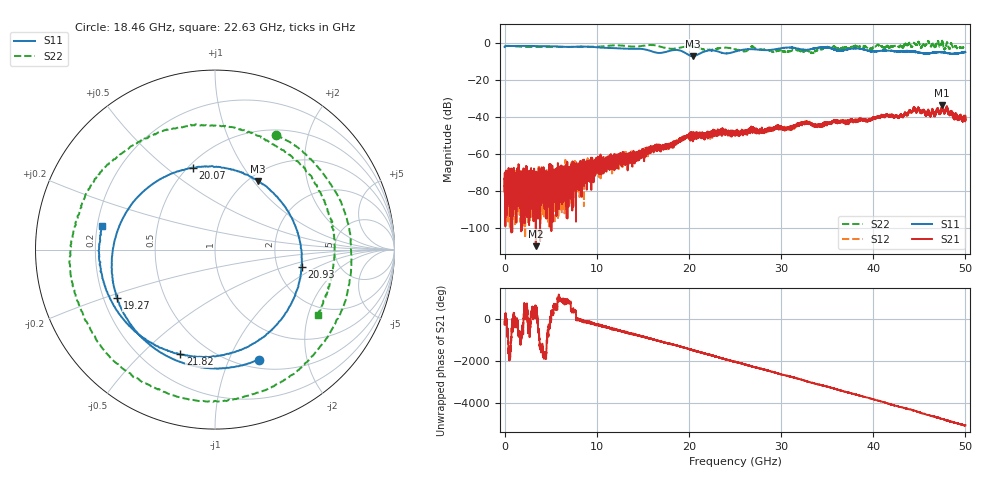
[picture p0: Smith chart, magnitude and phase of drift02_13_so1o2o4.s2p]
!Created with skrf (http://scikit-rf.org).
# Hz S RI R 50.0
!freq ReS11 ImS11 ReS21 ImS21 ReS12 ImS12 ReS22 ImS22
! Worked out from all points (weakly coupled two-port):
!   10001 points, 300 kHz to 50 GHz, reference 50 ohm
!   highest |S21| = -33.60 dB at 47.49 GHz (marker M1); lowest = -109.9 dB at 3.385 GHz (marker M2)
!   lowest |S11| = -6.9 dB at 20.41 GHz (marker M3), VSWR 2.63, Z = 54.8 + j52.5 ohm
!   |S11| at or under -10 dB: nowhere
!   |S22| runs from -5.3 to 1.6 dB; largest |S21 - S12| = 0.0034
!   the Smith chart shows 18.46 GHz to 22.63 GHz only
!   S11 on the Smith chart (normalised r, x): 18.46 GHz: 0.59, -1.29; 19.27 GHz: 0.26, -0.22; 20.07 GHz: 0.53, +0.62; 20.93 GHz: 2.74, -0.70; 21.82 GHz: 0.35, -0.66; 22.63 GHz: 0.22, +0.10
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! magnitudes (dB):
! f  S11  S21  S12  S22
! 300 kHz  -2.0  -73.5  -70.2  -1.3
! 470.3 MHz  -1.5  -72.8  -82.9  -1.4
! 3.385 GHz  -1.5  -109.9  -79.4  -1.9
! 3.84 GHz  -1.5  -71.4  -78.4  -2.0
! 5.145 GHz  -1.6  -73.9  -68.9  -2.0
! 8.335 GHz  -1.7  -72.6  -71.1  -1.9
! 16.67 GHz  -5.2  -55.5  -56.1  -1.5
! 18.46 GHz  -3.6  -54.3  -55.0  -2.8
! 19.27 GHz  -4.3  -51.6  -51.9  -2.1
! 20.07 GHz  -6.5  -49.1  -50.2  -1.5
! 20.41 GHz  -6.9  -51.0  -50.0  -1.7
! 20.93 GHz  -6.2  -49.2  -50.0  -2.2
! 21.82 GHz  -4.2  -49.1  -49.9  -3.5
! 22.63 GHz  -3.8  -48.7  -49.3  -3.4
! 25 GHz  -4.5  -47.8  -48.1  -3.2
! 26.11 GHz  -3.3  -48.6  -48.4  -4.3
! 26.9 GHz  -3.2  -46.4  -46.6  -1.7
! 33.34 GHz  -3.0  -44.4  -44.0  -5.1
! 34.9 GHz  -2.4  -43.5  -43.4  -2.0
! 41.67 GHz  -4.0  -39.4  -39.2  -2.0
! 47.49 GHz  -4.9  -33.6  -33.9  1.4
! 50 GHz  -4.8  -39.6  -40.1  -1.4
